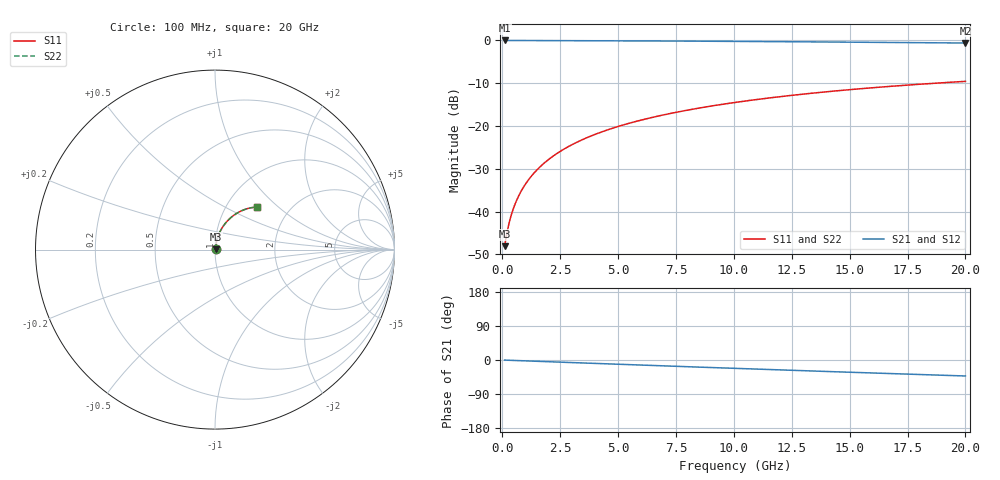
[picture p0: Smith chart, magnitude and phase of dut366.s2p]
! Touchstone file exported from HFSS 2026.1.0
!  File:  C:/ffzhzh/LocalFiles/Ansys_Project_Files/temp_train_BSMRDL_366_1783011707_46388.aedt
!  Generated:  01:03:10 AM Jul  3, 2026
!  Design:  BSMRDL
!  Project:  temp_train_BSMRDL_366_1783011707_46388
! Variables:
!  h_bsmrdl = 3.95um
!  h_ox = 20um
!  h_rdl = 5um
!  h_sub = 80um
!  h_tmrdl = 5um
!  h_tsv = 80um
!  h_via = 3um
!  l_bsmrdl = 658.6um
!  l_sub = 1058.6um
!  l_tmrdl = 200um
!  m_sub = 200um
!  pitch = 37.87um
!  r_tsv = 6um
!  s_tmrdl = 10um
!  w_bsmrdl = 19.38um
!  w_sub = 500um
!  w_tmrdl = 12um
!  x_tsv_center1 = 206um
!  x_tsv_center2 = 883.98um
!  x_tsv_center3 = 1095.98um
!  x_tsv_center4 = 1773.96um
!  x_tsv_center5 = 1985.96um
!  x_tsv_center6 = 2663.94um
# GHz S MA R 50.000000
! Terminal data exported
! Port[1] = BSM_RDL1_1_T1
! Port[2] = BSM_RDL1_1_T2
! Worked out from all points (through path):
!   200 points, 100 MHz to 20 GHz, reference 50 ohm
!   highest |S21| = -0.03 dB at 100 MHz (marker M1); lowest = -0.6 dB at 20 GHz (marker M2)
!   group delay of S21, straight-line fit = 5.86 ps
!   lowest |S11| = -48.1 dB at 100 MHz (marker M3), VSWR 1.01, Z = 50.3 + j0.228 ohm
!   |S11| at or under -10 dB: start of sweep to 18.75 GHz
!   |S22| runs from -48.1 to -9.6 dB; largest |S21 - S12| = 3.5e-15
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0.1  0.00394 35.0  0.9968 -0.2  0.9968 -0.2  0.00394 35.0
! Gamma 0 0 0 0
! Port Impedance 50 0 50 0
0.2  0.005601 52.4  0.9966 -0.5  0.9966 -0.5  0.005602 52.4
0.3  0.007466 60.8  0.9964 -0.7  0.9964 -0.7  0.007466 60.8
0.4  0.009361 65.7  0.9963 -0.9  0.9963 -0.9  0.009362 65.7
0.5  0.01126 68.9  0.9961 -1.2  0.9961 -1.2  0.01126 68.9
0.6  0.01317 71.2  0.996 -1.4  0.996 -1.4  0.01317 71.2
0.8  0.01702 74.3  0.9958 -1.8  0.9958 -1.8  0.01702 74.3
1.1  0.02287 76.8  0.9956 -2.5  0.9956 -2.5  0.02287 76.8
1.3  0.02679 77.8  0.9954 -3.0  0.9954 -3.0  0.02679 77.7
1.6  0.0327 78.5  0.9951 -3.6  0.9951 -3.6  0.0327 78.5
2.1  0.04256 78.9  0.9945 -4.8  0.9945 -4.8  0.04256 78.9
2.7  0.05435 78.6  0.9936 -6.1  0.9936 -6.1  0.05435 78.6
3.5  0.06993 77.6  0.9921 -7.9  0.9921 -7.9  0.06993 77.6
4.2  0.08339 76.4  0.9905 -9.4  0.9905 -9.4  0.08339 76.4
5  0.09854 74.9  0.9885 -11.2  0.9885 -11.2  0.09854 74.9
5.9  0.1153 73.2  0.9861 -13.2  0.9861 -13.2  0.1153 73.2
6.8  0.1317 71.4  0.9834 -15.1  0.9834 -15.1  0.1317 71.4
8.3  0.1583 68.4  0.9785 -18.4  0.9785 -18.4  0.1583 68.4
10.1  0.1889 64.8  0.9721 -22.2  0.9721 -22.2  0.1889 64.8
13.4  0.2416 58.3  0.9591 -29.0  0.9591 -29.0  0.2416 58.3
16.7  0.2893 51.9  0.945 -35.7  0.945 -35.7  0.2893 51.9
20  0.3317 45.7  0.9305 -42.2  0.9305 -42.2  0.3317 45.6
